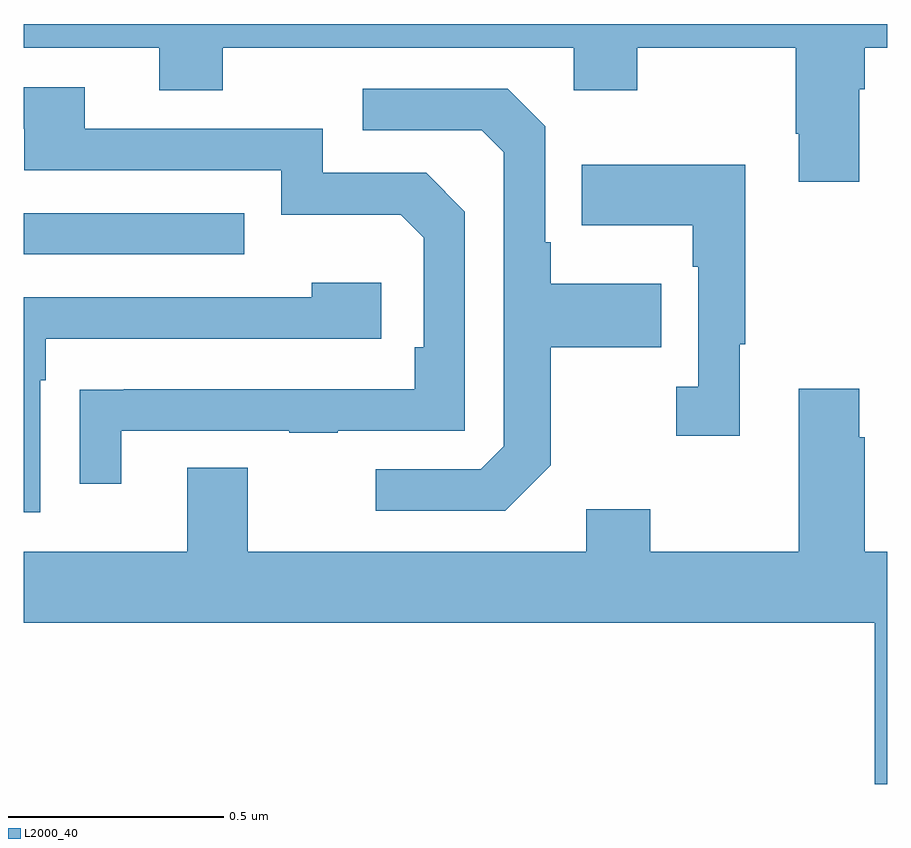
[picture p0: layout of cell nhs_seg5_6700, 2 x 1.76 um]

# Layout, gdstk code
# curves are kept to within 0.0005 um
import gdstk
lib = gdstk.Library(unit=1e-6, precision=1e-09)
def R(c, l, rs):  # rectangles x0, y0, x1, y1
    for r in rs: c.add(gdstk.rectangle(r[:2], r[2:], *l))
def P(c, l, *ps):  # polygons
    for p in ps: c.add(gdstk.Polygon(p, *l))
L2000_40 = (2000, 40)

nhs_seg5_6700 = lib.new_cell('nhs_seg5_6700')
R(nhs_seg5_6700, L2000_40, [(199,872.265,199.511,872.361)])
P(nhs_seg5_6700, L2000_40, [(200.935,872.648),(200.948,872.648),(200.948,872.744),(201,872.744),(201,872.799),(199,872.799),(199,872.744),(199.313,872.744),(199.313,872.645),(199.461,872.645),(199.461,872.744),(200.274,872.744),(200.274,872.645),(200.421,872.645),(200.421,872.744),(200.788,872.744),(200.788,872.545),(200.795,872.545),(200.795,872.433),(200.935,872.433)],
  [(199.225,871.857),(199.615,871.857),(199.615,871.852),(199.727,871.852),(199.727,871.857),(200.022,871.857),(200.022,872.364),(199.932,872.454),(199.692,872.454),(199.692,872.556),(199.141,872.556),(199.141,872.652),(199,872.652),(199.001,872.46),(199.596,872.46),(199.596,872.357),(199.873,872.357),(199.926,872.304),(199.926,872.05),(199.906,872.05),(199.906,871.953),(199.231,871.953),(199.231,871.952),(199.129,871.952),(199.129,871.734),(199.225,871.734)],
  [(200.221,871.777),(200.221,872.05),(200.477,872.05),(200.477,872.197),(200.221,872.197),(200.221,872.293),(200.208,872.293),(200.208,872.562),(200.121,872.649),(199.785,872.649),(199.785,872.553),(200.061,872.553),(200.112,872.502),(200.112,871.821),(200.058,871.767),(199.815,871.767),(199.815,871.671),(200.115,871.671)],
  [(200.659,872.057),(200.671,872.057),(200.671,872.473),(200.293,872.473),(200.293,872.333),(200.55,872.333),(200.55,872.237),(200.562,872.237),(200.562,871.958),(200.511,871.958),(200.511,871.845),(200.659,871.845)],
  [(199.038,871.973),(199.051,871.973),(199.051,872.07),(199.828,872.07),(199.828,872.2),(199.667,872.2),(199.667,872.166),(199,872.166),(199,871.668),(199.038,871.668)],
  [(201,871.576),(200.948,871.576),(200.948,871.841),(200.935,871.841),(200.935,871.954),(200.795,871.954),(200.795,871.576),(200.451,871.576),(200.451,871.675),(200.303,871.675),(200.303,871.576),(199.519,871.576),(199.519,871.771),(199.379,871.771),(199.379,871.576),(199,871.576),(199,871.412),(200.972,871.412),(200.972,871.038),(201,871.038)])

lib.write_gds('nhs_seg5_6700.gds')
